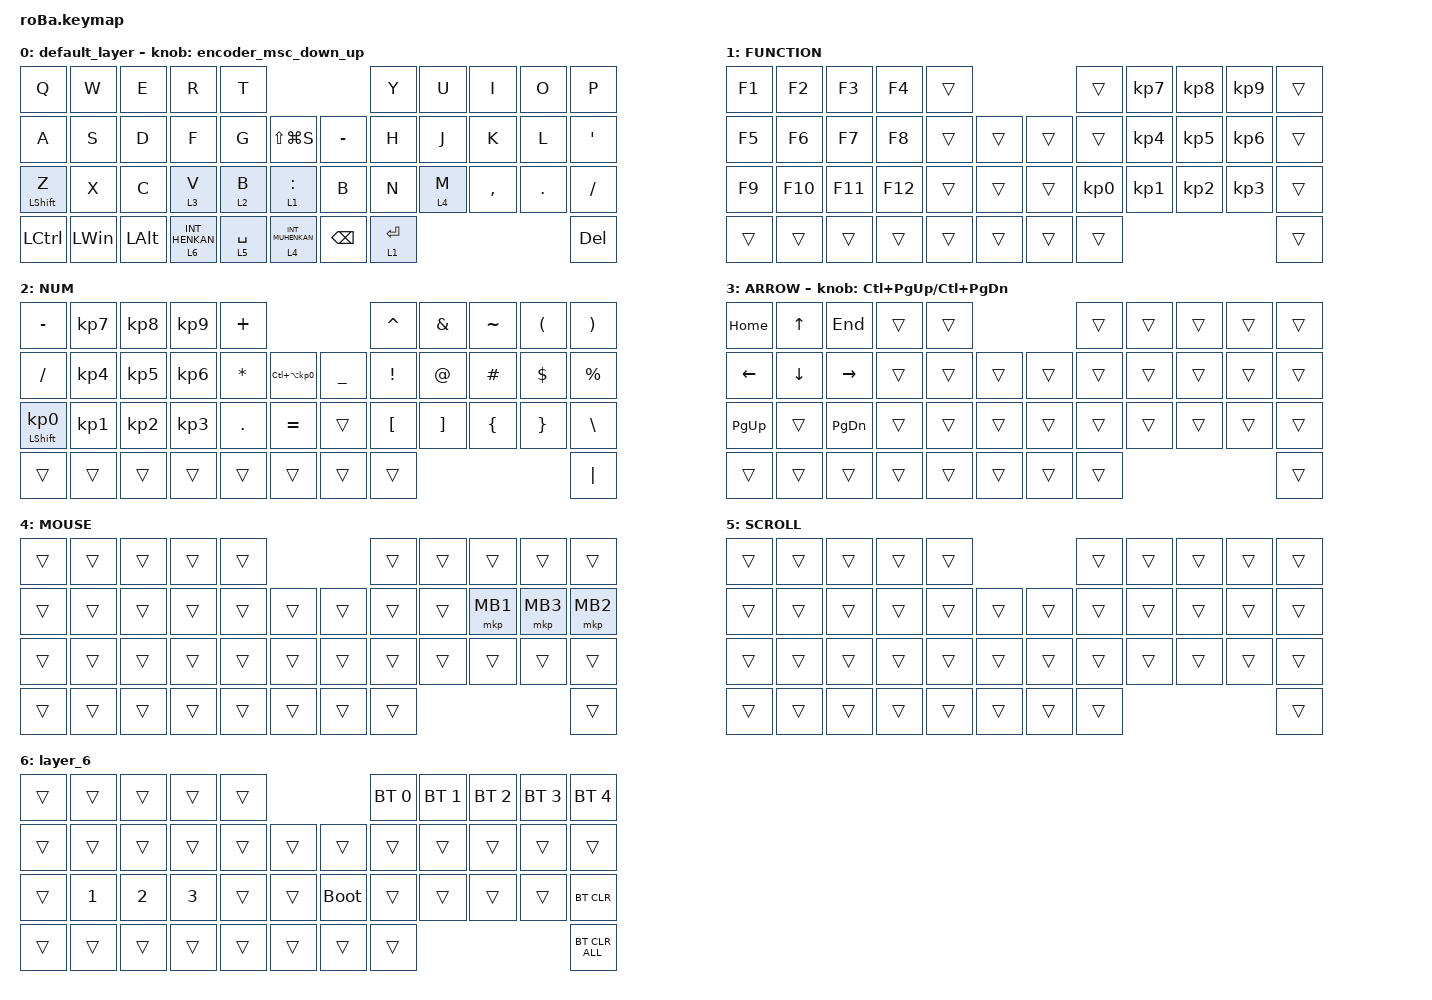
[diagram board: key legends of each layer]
#include <behaviors.dtsi>
#include <dt-bindings/zmk/bt.h>
#include <dt-bindings/zmk/keys.h>
#include <dt-bindings/zmk/pointing.h>

#define ZMK_POINTING_DEFAULT_SCRL_VAL 80

&mt {
    flavor = "balanced";
    quick-tap-ms = <0>;
};

&trackball {
    automouse-layer = <4>;
    scroll-layers = <5>;

    // arrows {
    //     layers = <3>;
    //     bindings =
    //         <&kp RIGHT_ARROW>,
    //         <&kp LEFT_ARROW>,
    //         <&kp UP_ARROW>,
    //         <&kp DOWN_ARROW>;
    //     tick = <10>;
    //     wait-ms = <5>;
    //     tap-ms = <5>;
    // };
};

/ {
    combos {
        compatible = "zmk,combos";

        tab {
            bindings = <&kp TAB>;
            key-positions = <11 10>;
        };

        shift_tab {
            bindings = <&kp LS(TAB)>;
            key-positions = <12 13>;
        };

        exc {
            bindings = <&kp EXCLAMATION>;
            key-positions = <33 32>;
        };

        esc {
            bindings = <&kp ESC>;
            key-positions = <0 1>;
        };

        win_u {
            bindings = <&kp LG(UP)>;
            key-positions = <1 35>;
        };

        win_d {
            bindings = <&kp LG(DOWN_ARROW)>;
            key-positions = <11 35>;
        };

        win_l {
            bindings = <&kp LG(LEFT_ARROW)>;
            key-positions = <35 10>;
        };

        win_r {
            bindings = <&kp LG(RIGHT_ARROW)>;
            key-positions = <35 12>;
        };

        ctrl_win_l {
            bindings = <&kp LG(LC(LEFT_ARROW))>;
            key-positions = <10 34>;
        };

        ctrl_win_r {
            bindings = <&kp LG(LC(RIGHT_ARROW))>;
            key-positions = <34 11>;
        };
    };

    macros {
        to_layer_0: to_layer_0 {
            compatible = "zmk,behavior-macro-one-param";
            #binding-cells = <1>;
            bindings = <&to 0 &macro_param_1to1 &kp MACRO_PLACEHOLDER>;
            label = "TO_LAYER_0";
        };
    };

    behaviors {
        lt_to_layer_0: lt_to_layer_0 {
            compatible = "zmk,behavior-hold-tap";
            label = "LAYER_TAP_TO_0";
            bindings = <&mo>, <&to_layer_0>;

            encoder_msc_down_up: encoder_msc_down_up {
                compatible = "zmk,behavior-sensor-rotate";
                label = "ENCODER_MSC_DOWN_UP";
                #sensor-binding-cells = <0>;
                bindings = <&msc SCRL_UP>, <&msc SCRL_DOWN>;

                tap-ms = <20>;
            };

            #binding-cells = <2>;
            tapping-term-ms = <200>;
        };
    };

    keymap {
        compatible = "zmk,keymap";

        default_layer {
            bindings = <
&kp Q             &kp W         &kp E         &kp R             &kp T                                               &kp Y        &kp U    &kp I      &kp O    &kp P
&kp A             &kp S         &kp D         &kp F             &kp G        &kp LS(LG(S))           &kp MINUS      &kp H        &kp J    &kp K      &kp L    &kp SQT
&mt LEFT_SHIFT Z  &kp X         &kp C         &lt 3 V           &lt 2 B      &lt 1 COLON             &kp B          &kp N        &lt 4 M  &kp COMMA  &kp DOT  &kp SLASH
&kp LCTRL         &kp LEFT_WIN  &kp LEFT_ALT  &lt 6 INT_HENKAN  &lt 5 SPACE  &lt 4 INT_MUHENKAN      &kp BACKSPACE  &lt 1 ENTER                               &kp DEL
            >;

            sensor-bindings = <&encoder_msc_down_up>;
        };

        FUNCTION {
            bindings = <
&kp F1  &kp F2   &kp F3   &kp F4   &trans                      &trans           &kp KP_NUMBER_7  &kp KP_NUMBER_8  &kp KP_NUMBER_9  &trans
&kp F5  &kp F6   &kp F7   &kp F8   &trans  &trans      &trans  &trans           &kp KP_NUMBER_4  &kp KP_NUMBER_5  &kp KP_NUMBER_6  &trans
&kp F9  &kp F10  &kp F11  &kp F12  &trans  &trans      &trans  &kp KP_NUMBER_0  &kp KP_NUMBER_1  &kp KP_NUMBER_2  &kp KP_NUMBER_3  &trans
&trans  &trans   &trans   &trans   &trans  &trans      &trans  &trans                                                              &trans
            >;
        };

        NUM {
            bindings = <
&kp MINUS                   &kp KP_NUMBER_7  &kp KP_NUMBER_8  &kp KP_NUMBER_9  &kp PLUS                                                   &kp CARET         &kp AMPERSAND      &kp TILDE       &kp LEFT_PARENTHESIS  &kp RIGHT_PARENTHESIS
&kp SLASH                   &kp KP_NUMBER_4  &kp KP_NUMBER_5  &kp KP_NUMBER_6  &kp ASTERISK  &kp LC(LA(KP_NUMBER_0))      &kp UNDERSCORE  &kp EXCLAMATION   &kp AT_SIGN        &kp HASH        &kp DOLLAR            &kp PERCENT
&mt LEFT_SHIFT KP_NUMBER_0  &kp KP_NUMBER_1  &kp KP_NUMBER_2  &kp KP_NUMBER_3  &kp PERIOD    &kp EQUAL                    &trans          &kp LEFT_BRACKET  &kp RIGHT_BRACKET  &kp LEFT_BRACE  &kp RIGHT_BRACE       &kp BACKSLASH
&trans                      &trans           &trans           &trans           &trans        &trans                       &trans          &trans                                                                     &kp PIPE
            >;
        };

        ARROW {
            bindings = <
&kp HOME        &kp UP_ARROW    &kp END          &trans  &trans                      &trans  &trans  &trans  &trans  &trans
&kp LEFT_ARROW  &kp DOWN_ARROW  &kp RIGHT_ARROW  &trans  &trans  &trans      &trans  &trans  &trans  &trans  &trans  &trans
&kp PAGE_UP     &trans          &kp PAGE_DOWN    &trans  &trans  &trans      &trans  &trans  &trans  &trans  &trans  &trans
&trans          &trans          &trans           &trans  &trans  &trans      &trans  &trans                          &trans
            >;

            sensor-bindings = <&inc_dec_kp LC(PAGE_UP) LC(PAGE_DOWN)>;
        };

        MOUSE {
            bindings = <
&trans  &trans  &trans  &trans  &trans                      &trans  &trans  &trans    &trans    &trans
&trans  &trans  &trans  &trans  &trans  &trans      &trans  &trans  &trans  &mkp MB1  &mkp MB3  &mkp MB2
&trans  &trans  &trans  &trans  &trans  &trans      &trans  &trans  &trans  &trans    &trans    &trans
&trans  &trans  &trans  &trans  &trans  &trans      &trans  &trans                              &trans
            >;
        };

        SCROLL {
            bindings = <
&trans  &trans  &trans  &trans  &trans                      &trans  &trans  &trans  &trans  &trans
&trans  &trans  &trans  &trans  &trans  &trans      &trans  &trans  &trans  &trans  &trans  &trans
&trans  &trans  &trans  &trans  &trans  &trans      &trans  &trans  &trans  &trans  &trans  &trans
&trans  &trans  &trans  &trans  &trans  &trans      &trans  &trans                          &trans
            >;
        };

        layer_6 {
            bindings = <
&trans  &trans        &trans        &trans        &trans                           &bt BT_SEL 0  &bt BT_SEL 1  &bt BT_SEL 2  &bt BT_SEL 3  &bt BT_SEL 4
&trans  &trans        &trans        &trans        &trans  &trans      &trans       &trans        &trans        &trans        &trans        &trans
&trans  &kp NUMBER_1  &kp NUMBER_2  &kp NUMBER_3  &trans  &trans      &bootloader  &trans        &trans        &trans        &trans        &bt BT_CLR
&trans  &trans        &trans        &trans        &trans  &trans      &trans       &trans                                                  &bt BT_CLR_ALL
            >;
        };
    };
};
